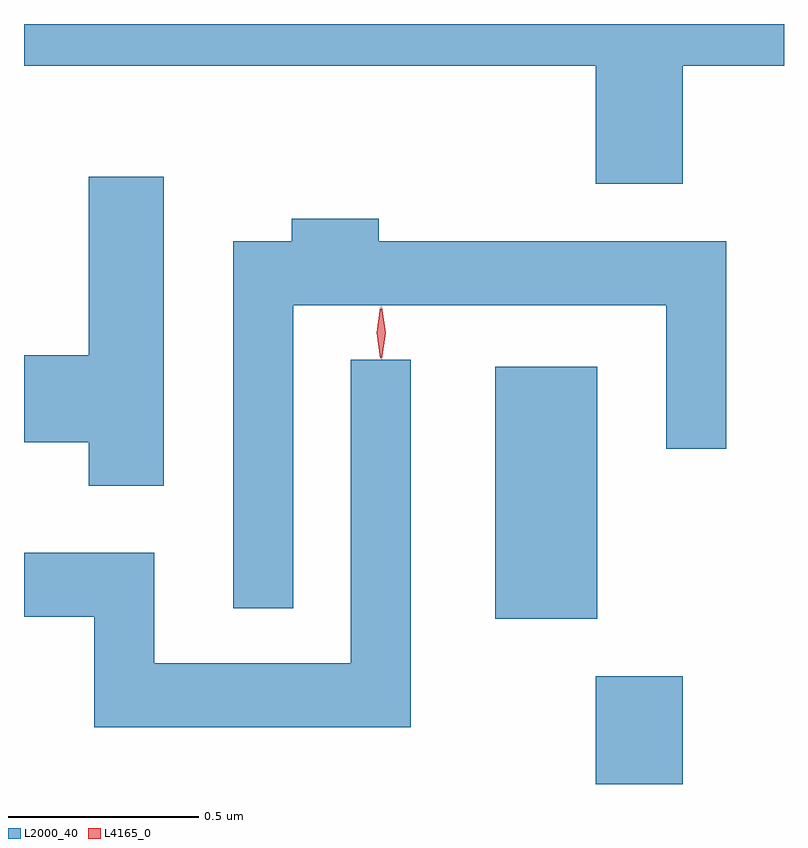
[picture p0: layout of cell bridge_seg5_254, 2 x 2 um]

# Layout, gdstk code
import gdstk
lib = gdstk.Library(unit=1e-6, precision=1e-09)
def R(c, l, rs):  # rectangles x0, y0, x1, y1
    for r in rs: c.add(gdstk.rectangle(r[:2], r[2:], *l))
def P(c, l, *ps):  # polygons
    for p in ps: c.add(gdstk.Polygon(p, *l))
L2000_40 = (2000, 40)
L4165_0 = (4165, 0)

bridge_seg5_254 = lib.new_cell('bridge_seg5_254')
R(bridge_seg5_254, L2000_40, [(1344.021,1426.046,1344.249,1426.329), (1343.756,1426.481,1344.024,1427.144)])
P(bridge_seg5_254, L2000_40, [(1344.249,1427.936),(1344.516,1427.936),(1344.516,1428.046),(1342.516,1428.046),(1342.516,1427.936),(1344.021,1427.936),(1344.021,1427.626),(1344.249,1427.626)],
  [(1342.884,1427.644),(1342.686,1427.644),(1342.686,1427.174),(1342.516,1427.174),(1342.516,1426.946),(1342.686,1426.946),(1342.686,1426.831),(1342.884,1426.831)],
  [(1343.224,1427.306),(1344.206,1427.306),(1344.206,1426.928),(1344.364,1426.928),(1344.364,1427.474),(1343.449,1427.474),(1343.449,1427.534),(1343.221,1427.534),(1343.221,1427.474),(1343.066,1427.474),(1343.066,1426.508),(1343.224,1426.508)],
  [(1343.534,1427.163),(1343.376,1427.163),(1343.376,1426.364),(1342.859,1426.364),(1342.859,1426.654),(1342.516,1426.654),(1342.516,1426.486),(1342.701,1426.486),(1342.701,1426.196),(1343.534,1426.196)])
P(bridge_seg5_254, L4165_0, [(1343.457,1427.164),(1343.448,1427.233),(1343.457,1427.302),(1343.458,1427.303),(1343.458,1427.302),(1343.468,1427.233),(1343.458,1427.164),(1343.458,1427.164)],
  [(1343.454,1427.167),(1343.454,1427.167),(1343.444,1427.234),(1343.454,1427.3),(1343.454,1427.3),(1343.454,1427.3),(1343.464,1427.234),(1343.455,1427.167)])

lib.write_gds('bridge_seg5_254.gds')
